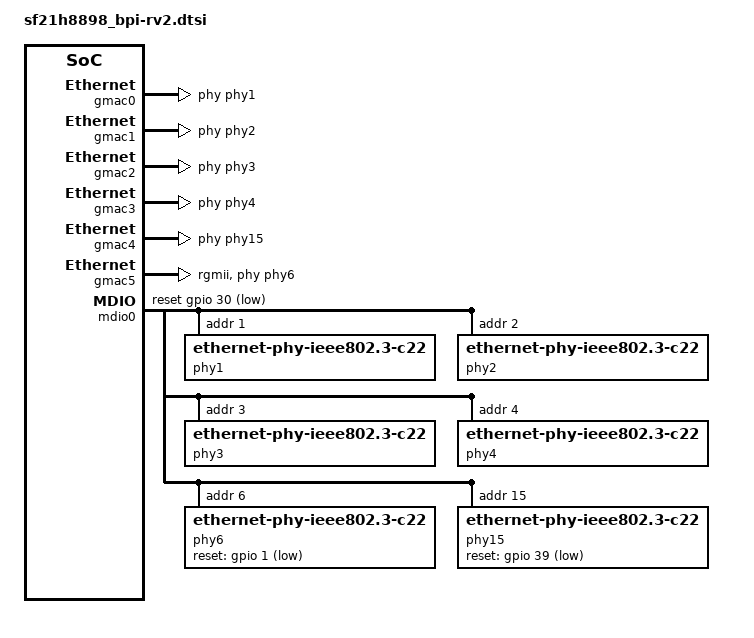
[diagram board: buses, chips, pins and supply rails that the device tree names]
// SPDX-License-Identifier: GPL-2.0
#include "sf21a6826_fullmask.dtsi"

/ {
	chosen {
		stdout-path = &uart1;
		tick-timer = &timer;
	};
};

&uart1 {
	u-boot,dm-pre-reloc;
};

&watchdog {
	u-boot,dm-pre-reloc;
};

&timer0 {
	u-boot,dm-pre-reloc;
};

&spi0_pins {
	pinctrl-single,pins = <
		SPI0_TXD	FUNC_MODE0
		SPI0_RXD	FUNC_MODE0
		SPI0_CLK	FUNC_MODE0
		SPI0_HOLD	FUNC_MODE0
		SPI0_WP		FUNC_MODE0
	>;
};

&i2c0 {
	status = "disabled";
};

&gmac0 {
        status = "okay";
        phy-handle = <&phy1>;
};

&gmac1 {
        status = "okay";
        phy-handle = <&phy2>;
};

&gmac2 {
        status = "okay";
        phy-handle = <&phy3>;
};

&gmac3 {
        status = "okay";
        phy-handle = <&phy4>;
};

&gmac4 {
        status = "okay";
        phy-handle = <&phy15>;
};

&gmac5 {
        status = "okay";
        phy-mode = "rgmii";
        phy-handle = <&phy6>;
};

&mdio0 {
	reset-gpios = <&gpio 30 GPIO_ACTIVE_LOW>;
	reset-delay-us = <10000>;
	reset-post-delay-us = <100000>;

	phy1: ethernet-phy@1 {
		compatible = "ethernet-phy-ieee802.3-c22";
		reg = <0x1>;
	};

	phy2: ethernet-phy@2 {
		compatible = "ethernet-phy-ieee802.3-c22";
		reg = <0x2>;
	};

	phy3: ethernet-phy@3 {
		compatible = "ethernet-phy-ieee802.3-c22";
		reg = <0x3>;
	};

	phy4: ethernet-phy@4 {
		compatible = "ethernet-phy-ieee802.3-c22";
		reg = <0x4>;
	};

	phy6: ethernet-phy@6 {
		compatible = "ethernet-phy-ieee802.3-c22";
		reg = <0x6>;
		reset-gpios = <&gpio 1 GPIO_ACTIVE_LOW>;
		reset-assert-us = <10000>;
		reset-deassert-us = <100000>;
	};

	phy15: ethernet-phy@f {
		compatible = "ethernet-phy-ieee802.3-c22";
		reg = <0xf>;
		reset-gpios = <&gpio 39 GPIO_ACTIVE_LOW>;
		reset-assert-us = <10000>;
		reset-deassert-us = <100000>;
	};
};

&mdio1 {
	status = "disabled";
};

&xpcs0 {
	enable;
};

&xpcs1 {
	enable;
};
